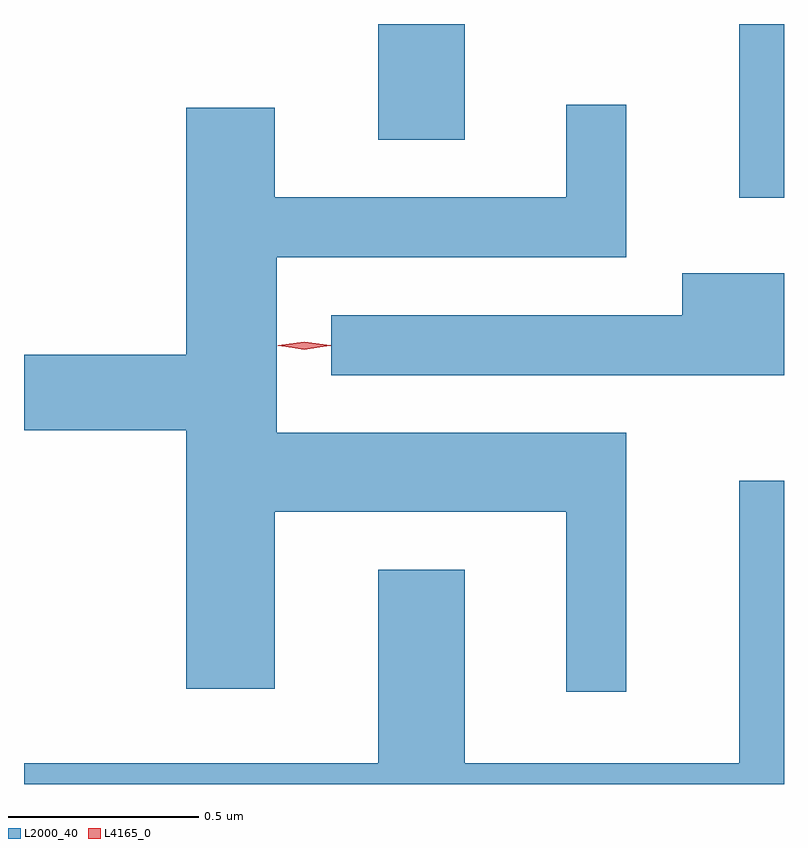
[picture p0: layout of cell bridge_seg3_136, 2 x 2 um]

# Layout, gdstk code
import gdstk
lib = gdstk.Library(unit=1e-6, precision=1e-09)
def R(c, l, rs):  # rectangles x0, y0, x1, y1
    for r in rs: c.add(gdstk.rectangle(r[:2], r[2:], *l))
def P(c, l, *ps):  # polygons
    for p in ps: c.add(gdstk.Polygon(p, *l))
L2000_40 = (2000, 40)
L4165_0 = (4165, 0)

bridge_seg3_136 = lib.new_cell('bridge_seg3_136')
R(bridge_seg3_136, L2000_40, [(901.991,1232.113,902.109,1232.57), (901.041,1232.266,901.269,1232.57)])
P(bridge_seg3_136, L2000_40, [(901.694,1231.494),(900.774,1231.494),(900.774,1231.956),(901.694,1231.956),(901.694,1232.358),(901.536,1232.358),(901.536,1232.114),(900.769,1232.114),(900.769,1232.349),(900.536,1232.349),(900.536,1231.699),(900.109,1231.699),(900.109,1231.501),(900.536,1231.501),(900.536,1230.821),(900.769,1230.821),(900.769,1231.286),(901.536,1231.286),(901.536,1230.813),(901.694,1230.813)],
  [(902.109,1231.914),(901.841,1231.914),(901.841,1231.804),(900.918,1231.804),(900.918,1231.646),(902.109,1231.646)],
  [(902.109,1231.368),(901.991,1231.368),(901.991,1230.624),(901.269,1230.624),(901.269,1231.134),(901.041,1231.134),(901.041,1230.624),(900.109,1230.624),(900.109,1230.57),(902.109,1230.57)])
P(bridge_seg3_136, L4165_0, [(900.847,1231.714),(900.778,1231.723),(900.777,1231.723),(900.778,1231.724),(900.846,1231.734),(900.916,1231.724),(900.916,1231.724),(900.916,1231.723)],
  [(900.847,1231.713),(900.782,1231.723),(900.782,1231.723),(900.782,1231.724),(900.847,1231.733),(900.912,1231.724),(900.913,1231.723),(900.912,1231.723)])

lib.write_gds('bridge_seg3_136.gds')
